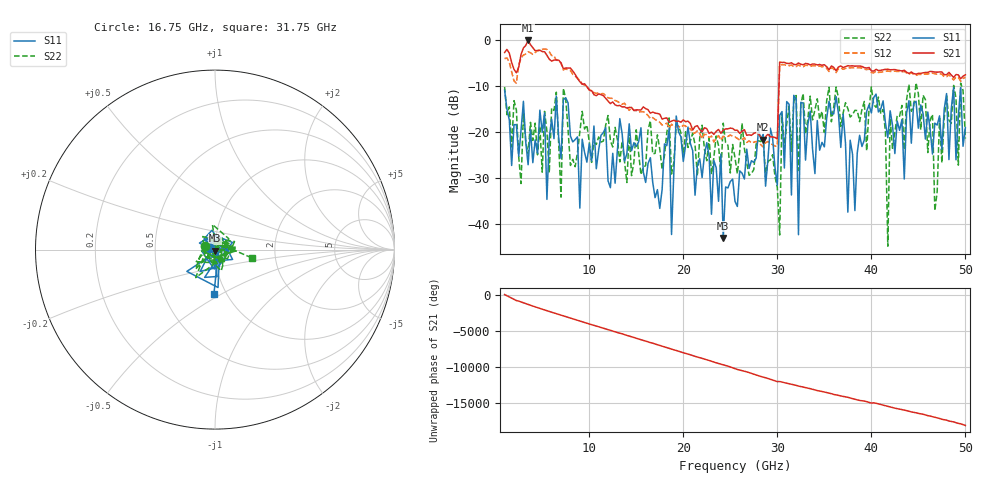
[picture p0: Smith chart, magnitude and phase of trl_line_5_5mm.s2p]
# GHz S RI R 50.0
!freq ReS11 ImS11 ReS21 ImS21 ReS12 ImS12 ReS22 ImS22
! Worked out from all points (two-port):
!   197 points, 1 GHz to 50 GHz, reference 50 ohm
!   highest |S21| = -0.21 dB at 3.5 GHz (marker M1); lowest = -21.7 dB at 28.5 GHz (marker M2)
!   |S21| within 3 dB of the highest: start of sweep to 1.531 GHz; 2.752 GHz to 5.425 GHz (2.673 GHz wide, 65.4 % of centre)
!   lowest |S11| = -43.1 dB at 24.25 GHz (marker M3), VSWR 1.01, Z = 49.8 - j0.663 ohm
!   |S11| at or under -10 dB: start of sweep to end of sweep
!   |S22| runs from -44.9 to -9.4 dB; largest |S21 - S12| = 1.5
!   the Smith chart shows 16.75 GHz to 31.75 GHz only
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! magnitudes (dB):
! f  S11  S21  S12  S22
! 1 GHz  -11.0  -2.8  -4.1  -10.3
! 3.5 GHz  -27.2  -0.2  -2.7  -24.8
! 9.25 GHz  -21.6  -9.7  -9.6  -15.6
! 17.5 GHz  -36.7  -16.2  -18.0  -23.8
! 18.5 GHz  -19.3  -18.0  -19.3  -17.0
! 18.75 GHz  -42.3  -17.7  -18.4  -29.2
! 19.25 GHz  -16.6  -17.8  -19.0  -18.4
! 24.25 GHz  -43.1  -19.7  -21.0  -18.2
! 25.5 GHz  -35.1  -19.7  -21.1  -25.7
! 28.5 GHz  -20.5  -21.7  -23.3  -20.9
! 30.25 GHz  -16.5  -4.9  -5.4  -42.4
! 30.5 GHz  -15.6  -5.0  -5.5  -16.3
! 31.5 GHz  -33.7  -5.0  -5.5  -24.3
! 32 GHz  -12.9  -5.4  -5.9  -12.2
! 32.25 GHz  -42.4  -5.1  -5.5  -28.4
! 32.5 GHz  -13.6  -5.4  -5.8  -14.0
! 33.75 GHz  -23.9  -5.3  -5.7  -17.4
! 38.25 GHz  -37.1  -5.8  -6.2  -15.4
! 40.75 GHz  -15.7  -6.7  -7.1  -12.5
! 41.75 GHz  -21.3  -6.4  -6.8  -44.9
! 42 GHz  -15.5  -6.6  -6.9  -17.2
! 50 GHz  -19.1  -7.7  -8.2  -21.5
